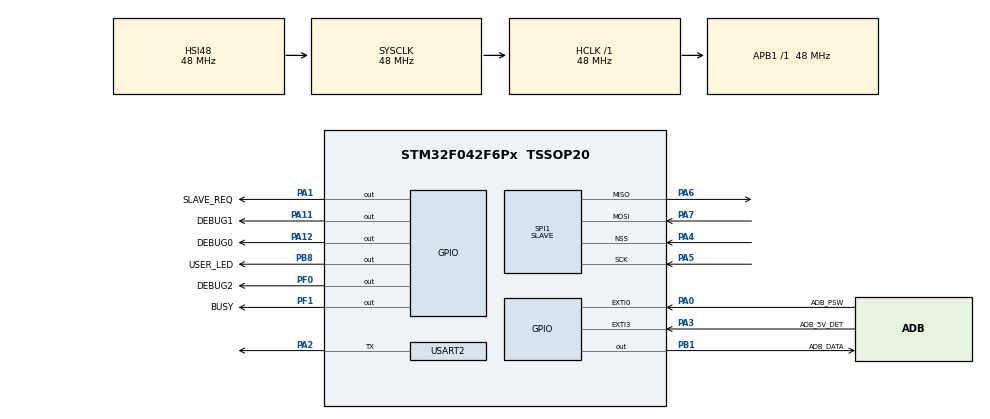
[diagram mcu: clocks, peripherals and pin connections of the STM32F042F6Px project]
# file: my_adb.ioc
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IWDG.Prescaler=IWDG_PRESCALER_32
Mcu.Family=STM32F0
Mcu.Name=STM32F042F6Px
Mcu.Package=TSSOP20
NVIC.EXTI0_1_IRQn=true\:3\:0\:true\:false\:true\:true\:true
NVIC.SPI1_IRQn=true\:0\:0\:false\:false\:true\:true\:true
PA0.GPIO_Label=ADB_PSW
PA0.GPIO_ModeDefaultEXTI=GPIO_MODE_IT_RISING_FALLING
PA0.GPIO_PuPd=GPIO_PULLUP
PA0.Signal=GPXTI0
PA1.GPIO_Label=SLAVE_REQ
PA1.GPIO_ModeDefaultOutputPP=GPIO_MODE_OUTPUT_PP
PA1.Signal=GPIO_Output
PA11.GPIO_Label=DEBUG1
PA11.GPIO_ModeDefaultOutputPP=GPIO_MODE_OUTPUT_OD
PA11.GPIO_PuPd=GPIO_PULLUP
PA11.GPIO_Speed=GPIO_SPEED_FREQ_LOW
PA11.PinState=GPIO_PIN_SET
PA11.Signal=GPIO_Output
PA12.GPIO_Label=DEBUG0
PA12.GPIO_ModeDefaultOutputPP=GPIO_MODE_OUTPUT_OD
PA12.GPIO_PuPd=GPIO_PULLUP
PA12.GPIO_Speed=GPIO_SPEED_FREQ_LOW
PA12.PinState=GPIO_PIN_SET
PA12.Signal=GPIO_Output
PA13.Mode=Serial_Wire
PA13.Signal=SYS_SWDIO
PA14.Mode=Serial_Wire
PA14.Signal=SYS_SWCLK
PA2.Mode=Half_duplex(single_wire_mode)
PA2.Signal=USART2_TX
PA3.GPIO_Label=ADB_5V_DET
PA3.GPIO_ModeDefaultEXTI=GPIO_MODE_IT_FALLING
PA3.GPIO_PuPd=GPIO_PULLDOWN
PA3.Signal=GPXTI3
PA4.Mode=NSS_Signal_Hard_Input
PA4.Signal=SPI1_NSS
PA5.Mode=Full_Duplex_Slave
PA5.Signal=SPI1_SCK
PA6.Mode=Full_Duplex_Slave
PA6.Signal=SPI1_MISO
PA7.Mode=Full_Duplex_Slave
PA7.Signal=SPI1_MOSI
PB1.GPIO_Label=ADB_DATA
PB1.GPIO_ModeDefaultOutputPP=GPIO_MODE_OUTPUT_OD
PB1.PinState=GPIO_PIN_SET
PB1.Signal=GPIO_Output
PB8.GPIO_Label=USER_LED
PB8.Signal=GPIO_Output
PF0-OSC_IN.GPIO_Label=DEBUG2
PF0-OSC_IN.GPIO_ModeDefaultOutputPP=GPIO_MODE_OUTPUT_OD
PF0-OSC_IN.GPIO_PuPd=GPIO_PULLUP
PF0-OSC_IN.GPIO_Speed=GPIO_SPEED_FREQ_LOW
PF0-OSC_IN.PinState=GPIO_PIN_SET
PF0-OSC_IN.Signal=GPIO_Output
PF1-OSC_OUT.GPIO_Label=BUSY
PF1-OSC_OUT.GPIO_ModeDefaultOutputPP=GPIO_MODE_OUTPUT_PP
PF1-OSC_OUT.GPIO_PuPd=GPIO_NOPULL
PF1-OSC_OUT.GPIO_Speed=GPIO_SPEED_FREQ_LOW
PF1-OSC_OUT.PinState=GPIO_PIN_RESET
PF1-OSC_OUT.Signal=GPIO_Output
ProjectManager.HeapSize=0x200
ProjectManager.StackSize=0x400
ProjectManager.TargetToolchain=MDK-ARM V5
RCC.AHBFreq_Value=48000000
RCC.APB1Freq_Value=48000000
RCC.APB1TimFreq_Value=48000000
RCC.HCLKFreq_Value=48000000
RCC.I2c1ClockSelection=RCC_I2C1CLKSOURCE_SYSCLK
RCC.SYSCLKFreq_VALUE=48000000
RCC.SYSCLKSource=RCC_SYSCLKSOURCE_HSI48
SPI1.DataSize=SPI_DATASIZE_8BIT
SPI1.Direction=SPI_DIRECTION_2LINES
SPI1.Mode=SPI_MODE_SLAVE
SPI1.VirtualNSS=VM_NSSHARD
SPI1.VirtualType=VM_SLAVE
TIM2.Period=4294967295
TIM2.Prescaler=47
USART2.BaudRate=115200
USART2.Mode=MODE_TX
USART2.VirtualMode-Half_duplex(single_wire_mode)=VM_ASYNC
VP_IWDG_VS_IWDG.Mode=IWDG_Activate
VP_SYS_VS_PINREMAP.Mode=PINREMAP
VP_TIM2_VS_ClockSourceINT.Mode=Internal
board=custom

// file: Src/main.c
/**
  ******************************************************************************
  * @file           : main.c
  * @brief          : Main program body
  ******************************************************************************
  ** This notice applies to any and all portions of this file
  * that are not between comment pairs USER CODE BEGIN and
  * USER CODE END. Other portions of this file, whether
  * inserted by the user or by software development tools
  * are owned by their respective copyright owners.
  *
  * COPYRIGHT(c) 2023 STMicroelectronics
  *
  * Redistribution and use in source and binary forms, with or without modification,
  * are permitted provided that the following conditions are met:
  *   1. Redistributions of source code must retain the above copyright notice,
  *      this list of conditions and the following disclaimer.
  *   2. Redistributions in binary form must reproduce the above copyright notice,
  *      this list of conditions and the following disclaimer in the documentation
  *      and/or other materials provided with the distribution.
  *   3. Neither the name of STMicroelectronics nor the names of its contributors
  *      may be used to endorse or promote products derived from this software
  *      without specific prior written permission.
  *
  * THIS SOFTWARE IS PROVIDED BY THE COPYRIGHT HOLDERS AND CONTRIBUTORS "AS IS"
  * AND ANY EXPRESS OR IMPLIED WARRANTIES, INCLUDING, BUT NOT LIMITED TO, THE
  * IMPLIED WARRANTIES OF MERCHANTABILITY AND FITNESS FOR A PARTICULAR PURPOSE ARE
  * DISCLAIMED. IN NO EVENT SHALL THE COPYRIGHT HOLDER OR CONTRIBUTORS BE LIABLE
  * FOR ANY DIRECT, INDIRECT, INCIDENTAL, SPECIAL, EXEMPLARY, OR CONSEQUENTIAL
  * DAMAGES (INCLUDING, BUT NOT LIMITED TO, PROCUREMENT OF SUBSTITUTE GOODS OR
  * SERVICES; LOSS OF USE, DATA, OR PROFITS; OR BUSINESS INTERRUPTION) HOWEVER
  * CAUSED AND ON ANY THEORY OF LIABILITY, WHETHER IN CONTRACT, STRICT LIABILITY,
  * OR TORT (INCLUDING NEGLIGENCE OR OTHERWISE) ARISING IN ANY WAY OUT OF THE USE
  * OF THIS SOFTWARE, EVEN IF ADVISED OF THE POSSIBILITY OF SUCH DAMAGE.
  *
  ******************************************************************************
  */
#include "main.h"
#include "stm32f0xx_hal.h"

/* USER CODE BEGIN Includes */
#include <string.h>
#include <stdlib.h>
#include "delay_us.h"
#include "shared.h"
#include "helpers.h"
#include "adb.h"

#define PROTOCOL_STATUS_NOT_AVAILABLE 0
#define PROTOCOL_STATUS_ENABLED 1
#define PROTOCOL_STATUS_DISABLED 2
#define PROTOCOL_LOOKUP_SIZE 16

#define IS_ADB_HOST_PRESENT() HAL_GPIO_ReadPin(ADB_5V_DET_GPIO_Port, ADB_5V_DET_Pin)

/* USER CODE END Includes */

IWDG_HandleTypeDef hiwdg;

SPI_HandleTypeDef hspi1;

TIM_HandleTypeDef htim2;

UART_HandleTypeDef huart2;

/* USER CODE BEGIN PV */
/* Private variables ---------------------------------------------------------*/

/*
0.3.0 20230307
Added BUSY signal
*/

const uint8_t board_id = 2;
const uint8_t version_major = 0;
const uint8_t version_minor = 3;
const uint8_t version_patch = 0;

uint8_t spi_transmit_buf[SPI_BUF_SIZE];
uint8_t spi_recv_buf[SPI_BUF_SIZE];
kb_buf my_kb_buf;
mouse_buf my_mouse_buf;
mouse_event latest_mouse_event;
mouse_event consolidated_mouse_event;
uint8_t spi_error_occured;
uint8_t protocol_status_lookup[PROTOCOL_LOOKUP_SIZE];

/* USER CODE END PV */

void SystemClock_Config(void);
static void MX_GPIO_Init(void);
static void MX_SPI1_Init(void);
static void MX_USART2_UART_Init(void);
static void MX_TIM2_Init(void);
static void MX_IWDG_Init(void);

/* USER CODE BEGIN PFP */
/* Private function prototypes -----------------------------------------------*/

/* USER CODE END PFP */

/* USER CODE BEGIN 0 */
int fputc(int ch, FILE *f)
{
    HAL_UART_Transmit(&huart2, (unsigned char *)&ch, 1, 10);
    return ch;
}

void cap_to_127(int32_t *number)
{
  if(*number > 127)
    *number = 127;
  if(*number < -127)
    *number = -127;
}

void get_consolidated_mouse_event(mouse_buf* mbuf, mouse_event* cme_result)
{
  cme_result->movement_x = 0;
  cme_result->movement_y = 0;
  cme_result->scroll_vertical = 0;
  cme_result->button_left = 0;
  cme_result->button_right = 0;
  cme_result->button_middle = 0;
  cme_result->button_side = 0;
  cme_result->button_extra = 0;
  while(1)
  {
    mouse_event* this_mouse_event = mouse_buf_peek(mbuf);
    if(this_mouse_event == NULL)
      break;
    cme_result->movement_x += this_mouse_event->movement_x;
    cme_result->movement_y += this_mouse_event->movement_y;
    cme_result->scroll_vertical += this_mouse_event->scroll_vertical;
    cme_result->button_left |= this_mouse_event->button_left;
    cme_result->button_right |= this_mouse_event->button_right;
    cme_result->button_middle |= this_mouse_event->button_middle;
    cme_result->button_side |= this_mouse_event->button_side;
    cme_result->button_extra |= this_mouse_event->button_extra;
    mouse_buf_pop(mbuf);
  }
  cap_to_127(&cme_result->movement_x);
  cap_to_127(&cme_result->movement_y);
}

uint8_t is_protocol_enabled(uint8_t this_protocol)
{
  if(this_protocol >= PROTOCOL_LOOKUP_SIZE)
    return 0;
  return protocol_status_lookup[this_protocol] == PROTOCOL_STATUS_ENABLED;
}

int16_t byte_to_int16_t(uint8_t lsb, uint8_t msb)
{
  return (int16_t)((msb << 8) | lsb);
}

void handle_protocol_switch(uint8_t spi_byte)
{
  uint8_t index = spi_byte & 0x7f;
  uint8_t onoff = spi_byte & 0x80;

  if(index >= PROTOCOL_LOOKUP_SIZE)
    return;
  // trying to change a protocol that is not available on this board
  if(protocol_status_lookup[index] == PROTOCOL_STATUS_NOT_AVAILABLE)
    return;
  // switching protocol ON
  if(onoff && protocol_status_lookup[index] == PROTOCOL_STATUS_DISABLED)
  {
    switch(index)
    {
      case PROTOCOL_ADB_KB:
        kb_buf_reset(&my_kb_buf);
        break;
      case PROTOCOL_ADB_MOUSE:
        mouse_buf_reset(&my_mouse_buf);
        break;
    }
    protocol_status_lookup[index] = PROTOCOL_STATUS_ENABLED;
  }
  // switching protocol OFF
  else if((onoff == 0) && protocol_status_lookup[index] == PROTOCOL_STATUS_ENABLED)
    protocol_status_lookup[index] = PROTOCOL_STATUS_DISABLED;
}

volatile uint32_t ACT_LED_off_ts;
void HAL_SPI_TxRxCpltCallback(SPI_HandleTypeDef *hspi)
{
  HAL_GPIO_WritePin(USER_LED_GPIO_Port, USER_LED_Pin, GPIO_PIN_SET);
  HAL_GPIO_WritePin(DEBUG2_GPIO_Port, DEBUG2_Pin, GPIO_PIN_RESET);

  if(spi_recv_buf[0] != 0xde)
    spi_error_occured = 1;

  if(spi_recv_buf[SPI_BUF_INDEX_MSG_TYPE] == SPI_MOSI_MSG_TYPE_MOUSE_EVENT)
  {
    latest_mouse_event.movement_x = byte_to_int16_t(spi_recv_buf[4], spi_recv_buf[5]);
    latest_mouse_event.movement_y = byte_to_int16_t(spi_recv_buf[6], spi_recv_buf[7]);
    latest_mouse_event.scroll_vertical = -1 * spi_recv_buf[8];
    latest_mouse_event.button_left = spi_recv_buf[13];
    latest_mouse_event.button_right = spi_recv_buf[14];
    latest_mouse_event.button_middle = spi_recv_buf[15];
    latest_mouse_event.button_side = spi_recv_buf[16];
    latest_mouse_event.button_extra = spi_recv_buf[17];
    mouse_buf_add(&my_mouse_buf, &latest_mouse_event);
  }
  else if(spi_recv_buf[SPI_BUF_INDEX_MSG_TYPE] == SPI_MOSI_MSG_TYPE_KEYBOARD_EVENT)
  {
    kb_buf_add(&my_kb_buf, spi_recv_buf[4], spi_recv_buf[6]);
  }
  else if(spi_recv_buf[SPI_BUF_INDEX_MSG_TYPE] == SPI_MOSI_MSG_TYPE_INFO_REQUEST)
  {
    memset(spi_transmit_buf, 0, SPI_BUF_SIZE);
    spi_transmit_buf[SPI_BUF_INDEX_MAGIC] = SPI_MISO_MAGIC;
    spi_transmit_buf[SPI_BUF_INDEX_SEQNUM] = spi_recv_buf[SPI_BUF_INDEX_SEQNUM];
    spi_transmit_buf[SPI_BUF_INDEX_MSG_TYPE] = SPI_MISO_MSG_TYPE_INFO_REQUEST;
    spi_transmit_buf[3] = board_id;
    spi_transmit_buf[5] = version_major;
    spi_transmit_buf[6] = version_minor;
    spi_transmit_buf[7] = version_patch;
    uint8_t curr_index = 8;
    for (int i = 0; i < PROTOCOL_LOOKUP_SIZE; i++)
    {
      if(protocol_status_lookup[i] == PROTOCOL_STATUS_NOT_AVAILABLE)
        continue;
      else if(protocol_status_lookup[i] == PROTOCOL_STATUS_DISABLED)
        spi_transmit_buf[curr_index] = i;
      else if(protocol_status_lookup[i] == PROTOCOL_STATUS_ENABLED)
        spi_transmit_buf[curr_index] = i | 0x80;
      curr_index++;
    }
  }
  else if(spi_recv_buf[SPI_BUF_INDEX_MSG_TYPE] == SPI_MOSI_MSG_TYPE_SET_PROTOCOL)
  {
    for (int i = 3; i < SPI_BUF_SIZE; ++i)
    {
      if(spi_recv_buf[i] == 0)
        break;
      handle_protocol_switch(spi_recv_buf[i]);
    }
  }

  if(spi_recv_buf[SPI_BUF_INDEX_MSG_TYPE] == SPI_MOSI_MSG_TYPE_REQ_ACK)
    HAL_GPIO_WritePin(SLAVE_REQ_GPIO_Port, SLAVE_REQ_Pin, GPIO_PIN_RESET);
  HAL_SPI_TransmitReceive_IT(&hspi1, spi_transmit_buf, spi_recv_buf, SPI_BUF_SIZE);
  HAL_GPIO_WritePin(DEBUG2_GPIO_Port, DEBUG2_Pin, GPIO_PIN_SET);
  ACT_LED_off_ts = micros() + 10000;
}

void spi_error_dump_reboot(void)
{
  printf("SPI ERROR\n");
  for (int i = 0; i < SPI_BUF_SIZE; ++i)
    printf("%d ", spi_recv_buf[i]);
  printf("\nrebooting...\n");
  for (int i = 0; i < 100; ++i)
  {
    HAL_GPIO_TogglePin(USER_LED_GPIO_Port, USER_LED_Pin);
    HAL_Delay(100);
  }
  NVIC_SystemReset();
}

const char boot_message[] = "USB4VC Protocol Board\nApple Desktop Bus (ADB)\ndekuNukem 2022";

void protocol_status_lookup_init(void)
{
  memset(protocol_status_lookup, PROTOCOL_STATUS_NOT_AVAILABLE, PROTOCOL_LOOKUP_SIZE);
  protocol_status_lookup[PROTOCOL_ADB_KB] = PROTOCOL_STATUS_ENABLED;
  protocol_status_lookup[PROTOCOL_ADB_MOUSE] = PROTOCOL_STATUS_ENABLED;
}

uint8_t int16_to_uint6(int16_t value)
{
  if(abs(value) <= 3)
    return (uint8_t)value;
  value = value >> 1;
  if(value >= 63)
    value = 63;
  if(value <= -63)
    value = -63;
  return (uint8_t)value;
}

void adb_mouse_update(void)
{
  if(mouse_buf_peek(&my_mouse_buf) == NULL)
    return;

  get_consolidated_mouse_event(&my_mouse_buf, &consolidated_mouse_event);
  // mouse buffer now empty

  uint16_t response = 0;
  if(consolidated_mouse_event.button_left == 0)
    response |= 0x8000;
  if(consolidated_mouse_event.button_right == 0)
    response |= 0x80;
  response |= int16_to_uint6(consolidated_mouse_event.movement_x) & 0x7f;
  response |= (int16_to_uint6(consolidated_mouse_event.movement_y) & 0x7f) << 8;
  adb_send_response_16b(response);
}

uint8_t capslock_counter;
void adb_keyboard_update(void)
{
  uint8_t buffered_code, buffered_value, adb_code;
  uint16_t response = 0x8080;
  if(kb_buf_peek(&my_kb_buf, &buffered_code, &buffered_value) == 0)
  {
    if(buffered_code >= EV_TO_ADB_LOOKUP_SIZE)
      goto adb_kb_end;
    adb_code = linux_ev_to_adb_lookup[buffered_code];
    if(adb_code == ADB_KEY_UNKNOWN)
      goto adb_kb_end;
    /*
    adb mac keyboard capslock key seems to behave differently than PC keyboards
    On PC: Capslock down then up = Caps lock on, Capslock down then up again = Caps lock off
    on adb mac: Capslock down = Capslock on, Capslock up = Caps lock off
    looks like mac keyboard uses a locking capslock, so need to convert the PC code to suit
    */
    if(adb_code == ADB_KEY_CAPSLOCK)
    {
      if(buffered_value != 1)
        goto adb_kb_end;
      capslock_counter++;
      buffered_value = capslock_counter % 2;
    }
    if(buffered_value)
      response &= 0x7fff;
    response |= ((uint16_t)adb_code & 0x7f) << 8;
    adb_send_response_16b(response);
    adb_kb_end:
    kb_buf_pop(&my_kb_buf);

    if(buffered_code == KEY_DELETE)
    {
      if(buffered_value == 0)
        adb_kb_reg2 |= 0x4000;
      else
        adb_kb_reg2 &= 0xbfff;
    }
    if(buffered_code == KEY_CAPSLOCK)
    {
      if(buffered_value == 0)
        adb_kb_reg2 |= 0x2000;
      else
        adb_kb_reg2 &= 0xdfff;
    }
    if(buffered_code == KEY_LEFTCTRL || buffered_code == KEY_RIGHTCTRL)
    {
      if(buffered_value == 0)
        adb_kb_reg2 |= 0x800;
      else
        adb_kb_reg2 &= 0xf7ff;
    }
    if(buffered_code == KEY_LEFTSHIFT || buffered_code == KEY_RIGHTSHIFT)
    {
      if(buffered_value == 0)
        adb_kb_reg2 |= 0x400;
      else
        adb_kb_reg2 &= 0xfbff;
    }
    if(buffered_code == KEY_LEFTALT || buffered_code == KEY_RIGHTALT)
    {
      if(buffered_value == 0)
        adb_kb_reg2 |= 0x200;
      else
        adb_kb_reg2 &= 0xfdff;
    }
    if(buffered_code == KEY_LEFTMETA || buffered_code == KEY_RIGHTMETA)
    {
      if(buffered_value == 0)
        adb_kb_reg2 |= 0x100;
      else
        adb_kb_reg2 &= 0xfeff;
    }
    // if(buffered_code == KEY_NUMLOCK)
    // {
    //   if(buffered_value == 0)
    //     adb_kb_reg2 |= 0x80;
    //   else
    //     adb_kb_reg2 &= 0xff7f;
    // }
    // if(buffered_code == KEY_SCROLLLOCK)
    // {
    //   if(buffered_value == 0)
    //     adb_kb_reg2 |= 0x40;
    //   else
    //     adb_kb_reg2 &= 0xffbf;
    // }
  }
}

#define KEY_POWER   116
void HAL_GPIO_EXTI_Callback(uint16_t GPIO_Pin)
{
  if(GPIO_Pin == ADB_PSW_Pin && is_protocol_enabled(PROTOCOL_ADB_MOUSE))
  {
    if(HAL_GPIO_ReadPin(ADB_PSW_GPIO_Port, ADB_PSW_Pin) == 0) // button pressed
      kb_buf_add(&my_kb_buf, KEY_POWER, 1);
    else
      kb_buf_add(&my_kb_buf, KEY_POWER, 0);
  }
}

/* USER CODE END 0 */

int main(void)
{

  /* MCU Configuration----------------------------------------------------------*/

  /* Reset of all peripherals, Initializes the Flash interface and the Systick. */
  HAL_Init();

  /* Configure the system clock */
  SystemClock_Config();

  /* Initialize all configured peripherals */
  MX_GPIO_Init();
  MX_SPI1_Init();
  MX_USART2_UART_Init();
  MX_TIM2_Init();
  MX_IWDG_Init();
  /* USER CODE BEGIN 2 */
  printf("%s\n v%d.%d.%d\n", boot_message, version_major, version_minor, version_patch);
  HAL_IWDG_Refresh(&hiwdg);
  delay_us_init(&htim2);
  protocol_status_lookup_init();
  kb_buf_init(&my_kb_buf);
  mouse_buf_init(&my_mouse_buf);
  uint8_t adb_data, adb_status, this_addr;
  uint8_t kb_srq = 0;
  uint8_t mouse_srq = 0;
  adb_init(ADB_DATA_GPIO_Port, ADB_DATA_Pin, ADB_PSW_GPIO_Port, ADB_PSW_Pin);
  memset(spi_transmit_buf, 0, SPI_BUF_SIZE);
  HAL_SPI_TransmitReceive_IT(&hspi1, spi_transmit_buf, spi_recv_buf, SPI_BUF_SIZE);
  /* USER CODE END 2 */

  /* Infinite loop */
  /* USER CODE BEGIN WHILE */
  while (1)
  {
    HAL_IWDG_Refresh(&hiwdg);

    if(spi_error_occured)
      spi_error_dump_reboot();

    if(micros() > ACT_LED_off_ts)
      HAL_GPIO_WritePin(USER_LED_GPIO_Port, USER_LED_Pin, GPIO_PIN_RESET);

  /* USER CODE END WHILE */

  /* USER CODE BEGIN 3 */
    if(IS_ADB_HOST_PRESENT() == 0)
      continue;

    kb_enabled = is_protocol_enabled(PROTOCOL_ADB_KB);
    mouse_enabled = is_protocol_enabled(PROTOCOL_ADB_MOUSE);

    if(kb_enabled == 0 && mouse_enabled == 0)
    {
      adb_reset();
      continue;
    }

    adb_status = adb_recv_cmd(&adb_data);
    adb_rw_in_progress = 0;
    if(adb_status == ADB_LINE_STATUS_RESET)
      adb_reset();
    else if(adb_status != ADB_OK)
      continue;

    // we are just at the end of a ADB command, check address, assert SRQ if needed
    this_addr = adb_data >> 4;
    if(!kb_buf_is_empty(&my_kb_buf))
      kb_srq = (this_addr != adb_kb_current_addr);
    else if(!mouse_buf_is_empty(&my_mouse_buf))
      mouse_srq = (this_addr != adb_mouse_current_addr);
    else
    {
      kb_srq = 0;
      mouse_srq = 0;
    }

    if((kb_srq && kb_enabled) || (mouse_srq && mouse_enabled))
      send_srq();
    else
      wait_until_change(ADB_DEFAULT_TIMEOUT_US);

    adb_status = parse_adb_cmd(adb_data);
    if(adb_status == ADB_MOUSE_POLL && mouse_enabled)
      adb_mouse_update();
    else if(adb_status == ADB_KB_POLL && kb_enabled)
      adb_keyboard_update();
    else if(adb_status == ADB_KB_POLL_REG2 && kb_enabled)
      adb_send_response_16b(adb_kb_reg2);
    else if(adb_status == ADB_KB_CHANGE_LED)
    {
      // kb reg2 top 13 bits is button status, 1 = released 0 = pressed
      // bottom 3 bits is LED, 1 = off, 0 = on
      memset(spi_transmit_buf, 0, SPI_BUF_SIZE);
      spi_transmit_buf[SPI_BUF_INDEX_MAGIC] = SPI_MISO_MAGIC;
      spi_transmit_buf[SPI_BUF_INDEX_MSG_TYPE] = SPI_MISO_MSG_TYPE_KB_LED_REQUEST;
      if(!(adb_kb_reg2 & 0x4)) // scroll lock LED
        spi_transmit_buf[3] = 1;
      if(!(adb_kb_reg2 & 0x1))  // num lock LED
        spi_transmit_buf[4] = 1;
      if(!(adb_kb_reg2 & 0x2))  // caps lock LED
        spi_transmit_buf[5] = 1;
      HAL_GPIO_WritePin(SLAVE_REQ_GPIO_Port, SLAVE_REQ_Pin, GPIO_PIN_SET);
    }
  }
  /* USER CODE END 3 */

}

void SystemClock_Config(void)
{

  RCC_OscInitTypeDef RCC_OscInitStruct;
  RCC_ClkInitTypeDef RCC_ClkInitStruct;

    /**Initializes the CPU, AHB and APB busses clocks
    */
  RCC_OscInitStruct.OscillatorType = RCC_OSCILLATORTYPE_HSI48|RCC_OSCILLATORTYPE_LSI;
  RCC_OscInitStruct.HSI48State = RCC_HSI48_ON;
  RCC_OscInitStruct.LSIState = RCC_LSI_ON;
  RCC_OscInitStruct.PLL.PLLState = RCC_PLL_NONE;
  if (HAL_RCC_OscConfig(&RCC_OscInitStruct) != HAL_OK)
  {
    _Error_Handler(__FILE__, __LINE__);
  }

    /**Initializes the CPU, AHB and APB busses clocks
    */
  RCC_ClkInitStruct.ClockType = RCC_CLOCKTYPE_HCLK|RCC_CLOCKTYPE_SYSCLK
                              |RCC_CLOCKTYPE_PCLK1;
  RCC_ClkInitStruct.SYSCLKSource = RCC_SYSCLKSOURCE_HSI48;
  RCC_ClkInitStruct.AHBCLKDivider = RCC_SYSCLK_DIV1;
  RCC_ClkInitStruct.APB1CLKDivider = RCC_HCLK_DIV1;

  if (HAL_RCC_ClockConfig(&RCC_ClkInitStruct, FLASH_LATENCY_1) != HAL_OK)
  {
    _Error_Handler(__FILE__, __LINE__);
  }

    /**Configure the Systick interrupt time
    */
  HAL_SYSTICK_Config(HAL_RCC_GetHCLKFreq()/1000);

    /**Configure the Systick
    */
  HAL_SYSTICK_CLKSourceConfig(SYSTICK_CLKSOURCE_HCLK);

  /* SysTick_IRQn interrupt configuration */
  HAL_NVIC_SetPriority(SysTick_IRQn, 0, 0);
}

/* IWDG init function */
static void MX_IWDG_Init(void)
{

  hiwdg.Instance = IWDG;
  hiwdg.Init.Prescaler = IWDG_PRESCALER_32;
  hiwdg.Init.Window = 4095;
  hiwdg.Init.Reload = 4095;
  if (HAL_IWDG_Init(&hiwdg) != HAL_OK)
  {
    _Error_Handler(__FILE__, __LINE__);
  }

}

/* SPI1 init function */
static void MX_SPI1_Init(void)
{

  /* SPI1 parameter configuration*/
  hspi1.Instance = SPI1;
  hspi1.Init.Mode = SPI_MODE_SLAVE;
  hspi1.Init.Direction = SPI_DIRECTION_2LINES;
  hspi1.Init.DataSize = SPI_DATASIZE_8BIT;
  hspi1.Init.CLKPolarity = SPI_POLARITY_LOW;
  hspi1.Init.CLKPhase = SPI_PHASE_1EDGE;
  hspi1.Init.NSS = SPI_NSS_HARD_INPUT;
  hspi1.Init.FirstBit = SPI_FIRSTBIT_MSB;
  hspi1.Init.TIMode = SPI_TIMODE_DISABLE;
  hspi1.Init.CRCCalculation = SPI_CRCCALCULATION_DISABLE;
  hspi1.Init.CRCPolynomial = 7;
  hspi1.Init.CRCLength = SPI_CRC_LENGTH_DATASIZE;
  hspi1.Init.NSSPMode = SPI_NSS_PULSE_DISABLE;
  if (HAL_SPI_Init(&hspi1) != HAL_OK)
  {
    _Error_Handler(__FILE__, __LINE__);
  }

}

/* TIM2 init function */
static void MX_TIM2_Init(void)
{

  TIM_ClockConfigTypeDef sClockSourceConfig;
  TIM_MasterConfigTypeDef sMasterConfig;

  htim2.Instance = TIM2;
  htim2.Init.Prescaler = 47;
  htim2.Init.CounterMode = TIM_COUNTERMODE_UP;
  htim2.Init.Period = 4294967295;
  htim2.Init.ClockDivision = TIM_CLOCKDIVISION_DIV1;
  htim2.Init.AutoReloadPreload = TIM_AUTORELOAD_PRELOAD_DISABLE;
  if (HAL_TIM_Base_Init(&htim2) != HAL_OK)
  {
    _Error_Handler(__FILE__, __LINE__);
  }

  sClockSourceConfig.ClockSource = TIM_CLOCKSOURCE_INTERNAL;
  if (HAL_TIM_ConfigClockSource(&htim2, &sClockSourceConfig) != HAL_OK)
  {
    _Error_Handler(__FILE__, __LINE__);
  }

  sMasterConfig.MasterOutputTrigger = TIM_TRGO_RESET;
  sMasterConfig.MasterSlaveMode = TIM_MASTERSLAVEMODE_DISABLE;
  if (HAL_TIMEx_MasterConfigSynchronization(&htim2, &sMasterConfig) != HAL_OK)
  {
    _Error_Handler(__FILE__, __LINE__);
  }

}

/* USART2 init function */
static void MX_USART2_UART_Init(void)
{

  huart2.Instance = USART2;
  huart2.Init.BaudRate = 115200;
  huart2.Init.WordLength = UART_WORDLENGTH_8B;
  huart2.Init.StopBits = UART_STOPBITS_1;
  huart2.Init.Parity = UART_PARITY_NONE;
  huart2.Init.Mode = UART_MODE_TX;
  huart2.Init.HwFlowCtl = UART_HWCONTROL_NONE;
  huart2.Init.OverSampling = UART_OVERSAMPLING_16;
  huart2.Init.OneBitSampling = UART_ONE_BIT_SAMPLE_DISABLE;
  huart2.AdvancedInit.AdvFeatureInit = UART_ADVFEATURE_NO_INIT;
  if (HAL_HalfDuplex_Init(&huart2) != HAL_OK)
  {
    _Error_Handler(__FILE__, __LINE__);
  }

}

/** Configure pins as
        * Analog
        * Input
        * Output
        * EVENT_OUT
        * EXTI
*/
static void MX_GPIO_Init(void)
{

  GPIO_InitTypeDef GPIO_InitStruct;

  /* GPIO Ports Clock Enable */
  __HAL_RCC_GPIOB_CLK_ENABLE();
  __HAL_RCC_GPIOF_CLK_ENABLE();
  __HAL_RCC_GPIOA_CLK_ENABLE();

  /*Configure GPIO pin Output Level */
  HAL_GPIO_WritePin(USER_LED_GPIO_Port, USER_LED_Pin, GPIO_PIN_RESET);

  /*Configure GPIO pin Output Level */
  HAL_GPIO_WritePin(DEBUG2_GPIO_Port, DEBUG2_Pin, GPIO_PIN_SET);

  /*Configure GPIO pin Output Level */
  HAL_GPIO_WritePin(BUSY_GPIO_Port, BUSY_Pin, GPIO_PIN_RESET);

  /*Configure GPIO pin Output Level */
  HAL_GPIO_WritePin(SLAVE_REQ_GPIO_Port, SLAVE_REQ_Pin, GPIO_PIN_RESET);

  /*Configure GPIO pin Output Level */
  HAL_GPIO_WritePin(ADB_DATA_GPIO_Port, ADB_DATA_Pin, GPIO_PIN_SET);

  /*Configure GPIO pin Output Level */
  HAL_GPIO_WritePin(GPIOA, DEBUG1_Pin|DEBUG0_Pin, GPIO_PIN_SET);

  /*Configure GPIO pin : USER_LED_Pin */
  GPIO_InitStruct.Pin = USER_LED_Pin;
  GPIO_InitStruct.Mode = GPIO_MODE_OUTPUT_PP;
  GPIO_InitStruct.Pull = GPIO_NOPULL;
  GPIO_InitStruct.Speed = GPIO_SPEED_FREQ_LOW;
  HAL_GPIO_Init(USER_LED_GPIO_Port, &GPIO_InitStruct);

  /*Configure GPIO pin : DEBUG2_Pin */
  GPIO_InitStruct.Pin = DEBUG2_Pin;
  GPIO_InitStruct.Mode = GPIO_MODE_OUTPUT_OD;
  GPIO_InitStruct.Pull = GPIO_PULLUP;
  GPIO_InitStruct.Speed = GPIO_SPEED_FREQ_LOW;
  HAL_GPIO_Init(DEBUG2_GPIO_Port, &GPIO_InitStruct);

  /*Configure GPIO pin : BUSY_Pin */
  GPIO_InitStruct.Pin = BUSY_Pin;
  GPIO_InitStruct.Mode = GPIO_MODE_OUTPUT_PP;
  GPIO_InitStruct.Pull = GPIO_NOPULL;
  GPIO_InitStruct.Speed = GPIO_SPEED_FREQ_LOW;
  HAL_GPIO_Init(BUSY_GPIO_Port, &GPIO_InitStruct);

  /*Configure GPIO pin : ADB_PSW_Pin */
  GPIO_InitStruct.Pin = ADB_PSW_Pin;
  GPIO_InitStruct.Mode = GPIO_MODE_IT_RISING_FALLING;
  GPIO_InitStruct.Pull = GPIO_PULLUP;
  HAL_GPIO_Init(ADB_PSW_GPIO_Port, &GPIO_InitStruct);

  /*Configure GPIO pin : SLAVE_REQ_Pin */
  GPIO_InitStruct.Pin = SLAVE_REQ_Pin;
  GPIO_InitStruct.Mode = GPIO_MODE_OUTPUT_PP;
  GPIO_InitStruct.Pull = GPIO_NOPULL;
  GPIO_InitStruct.Speed = GPIO_SPEED_FREQ_LOW;
  HAL_GPIO_Init(SLAVE_REQ_GPIO_Port, &GPIO_InitStruct);

  /*Configure GPIO pin : ADB_5V_DET_Pin */
  GPIO_InitStruct.Pin = ADB_5V_DET_Pin;
  GPIO_InitStruct.Mode = GPIO_MODE_IT_FALLING;
  GPIO_InitStruct.Pull = GPIO_PULLDOWN;
  HAL_GPIO_Init(ADB_5V_DET_GPIO_Port, &GPIO_InitStruct);

  /*Configure GPIO pin : ADB_DATA_Pin */
  GPIO_InitStruct.Pin = ADB_DATA_Pin;
  GPIO_InitStruct.Mode = GPIO_MODE_OUTPUT_OD;
  GPIO_InitStruct.Pull = GPIO_NOPULL;
  GPIO_InitStruct.Speed = GPIO_SPEED_FREQ_LOW;
  HAL_GPIO_Init(ADB_DATA_GPIO_Port, &GPIO_InitStruct);

  /*Configure GPIO pins : DEBUG1_Pin DEBUG0_Pin */
  GPIO_InitStruct.Pin = DEBUG1_Pin|DEBUG0_Pin;
  GPIO_InitStruct.Mode = GPIO_MODE_OUTPUT_OD;
  GPIO_InitStruct.Pull = GPIO_PULLUP;
  GPIO_InitStruct.Speed = GPIO_SPEED_FREQ_LOW;
  HAL_GPIO_Init(GPIOA, &GPIO_InitStruct);

  /* EXTI interrupt init*/
  HAL_NVIC_SetPriority(EXTI0_1_IRQn, 3, 0);
  HAL_NVIC_EnableIRQ(EXTI0_1_IRQn);

}

void _Error_Handler(char *file, int line)
{
  while(1)
  {
  }
}

/************************ (C) COPYRIGHT STMicroelectronics *****END OF FILE****/
